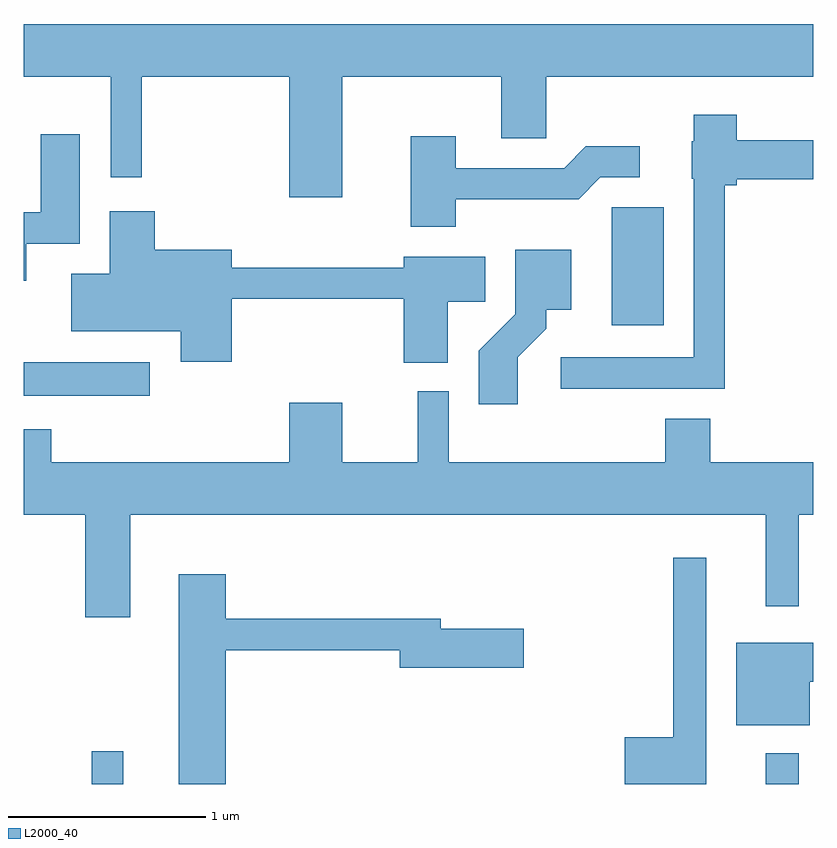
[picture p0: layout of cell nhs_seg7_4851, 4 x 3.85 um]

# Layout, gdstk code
import gdstk
lib = gdstk.Library(unit=1e-6, precision=1e-09)
def R(c, l, rs):  # rectangles x0, y0, x1, y1
    for r in rs: c.add(gdstk.rectangle(r[:2], r[2:], *l))
def P(c, l, *ps):  # polygons
    for p in ps: c.add(gdstk.Polygon(p, *l))
L2000_40 = (2000, 40)

nhs_seg7_4851 = lib.new_cell('nhs_seg7_4851')
R(nhs_seg7_4851, L2000_40, [(333.956,1746.252,334.114,1746.418), (337.371,1746.252,337.539,1746.408), (333.611,1748.221,334.248,1748.389), (336.591,1748.576,336.854,1749.174)])
P(nhs_seg7_4851, L2000_40, [(335.224,1749.836),(336.031,1749.836),(336.031,1749.526),(336.259,1749.526),(336.259,1749.836),(337.611,1749.836),(337.611,1750.104),(333.611,1750.104),(333.611,1749.836),(334.051,1749.836),(334.051,1749.328),(334.209,1749.328),(334.209,1749.836),(334.956,1749.836),(334.956,1749.226),(335.224,1749.226)],
  [(337.164,1749.286),(337.224,1749.286),(337.224,1749.316),(337.611,1749.316),(337.611,1749.514),(337.224,1749.514),(337.224,1749.644),(337.006,1749.644),(337.006,1749.51),(336.996,1749.51),(336.996,1749.32),(337.006,1749.32),(337.006,1748.414),(336.333,1748.414),(336.333,1748.256),(337.164,1748.256)],
  [(333.624,1748.991),(333.894,1748.991),(333.894,1749.544),(333.696,1749.544),(333.696,1749.149),(333.611,1749.149),(333.611,1748.803),(333.624,1748.803)],
  [(335.799,1749.216),(336.422,1749.216),(336.532,1749.326),(336.733,1749.326),(336.733,1749.484),(336.459,1749.484),(336.349,1749.374),(335.799,1749.374),(335.799,1749.534),(335.571,1749.534),(335.571,1749.076),(335.799,1749.076)],
  [(335.759,1748.696),(335.949,1748.696),(335.949,1748.924),(335.536,1748.924),(335.536,1748.869),(334.664,1748.869),(334.664,1748.959),(334.274,1748.959),(334.274,1749.154),(334.046,1749.154),(334.046,1748.839),(333.851,1748.839),(333.851,1748.546),(334.406,1748.546),(334.406,1748.391),(334.664,1748.391),(334.664,1748.711),(335.536,1748.711),(335.536,1748.386),(335.759,1748.386)],
  [(336.114,1748.414),(336.259,1748.559),(336.259,1748.656),(336.384,1748.656),(336.384,1748.959),(336.101,1748.959),(336.101,1748.632),(335.916,1748.447),(335.916,1748.176),(336.114,1748.176)],
  [(334.149,1747.616),(337.371,1747.616),(337.371,1747.153),(337.539,1747.153),(337.539,1747.616),(337.611,1747.616),(337.611,1747.884),(337.089,1747.884),(337.089,1748.104),(336.861,1748.104),(336.861,1747.884),(335.764,1747.884),(335.764,1748.243),(335.606,1748.243),(335.606,1747.884),(335.224,1747.884),(335.224,1748.184),(334.956,1748.184),(334.956,1747.884),(333.749,1747.884),(333.749,1748.049),(333.611,1748.049),(333.611,1747.616),(333.921,1747.616),(333.921,1747.096),(334.149,1747.096)],
  [(337.069,1747.398),(336.901,1747.398),(336.901,1746.489),(336.656,1746.489),(336.656,1746.252),(337.069,1746.252)],
  [(334.634,1746.931),(335.516,1746.931),(335.516,1746.841),(336.144,1746.841),(336.144,1747.039),(335.724,1747.039),(335.724,1747.089),(334.634,1747.089),(334.634,1747.314),(334.396,1747.314),(334.396,1746.252),(334.634,1746.252)],
  [(337.594,1746.771),(337.611,1746.771),(337.611,1746.969),(337.221,1746.969),(337.221,1746.551),(337.594,1746.551)])

lib.write_gds('nhs_seg7_4851.gds')
